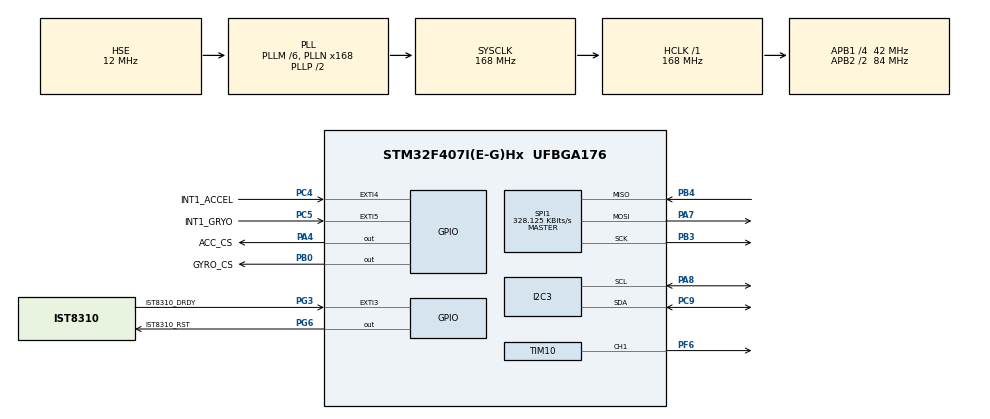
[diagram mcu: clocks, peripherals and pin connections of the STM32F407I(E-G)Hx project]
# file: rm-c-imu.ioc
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Dma.Request0=SPI1_RX
Dma.Request1=SPI1_TX
Dma.SPI1_RX.0.Direction=DMA_PERIPH_TO_MEMORY
Dma.SPI1_RX.0.FIFOMode=DMA_FIFOMODE_DISABLE
Dma.SPI1_RX.0.Instance=DMA2_Stream2
Dma.SPI1_RX.0.MemDataAlignment=DMA_MDATAALIGN_BYTE
Dma.SPI1_RX.0.MemInc=DMA_MINC_ENABLE
Dma.SPI1_RX.0.Mode=DMA_NORMAL
Dma.SPI1_RX.0.PeriphDataAlignment=DMA_PDATAALIGN_BYTE
Dma.SPI1_RX.0.PeriphInc=DMA_PINC_DISABLE
Dma.SPI1_RX.0.Priority=DMA_PRIORITY_VERY_HIGH
Dma.SPI1_TX.1.Direction=DMA_MEMORY_TO_PERIPH
Dma.SPI1_TX.1.FIFOMode=DMA_FIFOMODE_DISABLE
Dma.SPI1_TX.1.Instance=DMA2_Stream3
Dma.SPI1_TX.1.MemDataAlignment=DMA_MDATAALIGN_BYTE
Dma.SPI1_TX.1.MemInc=DMA_MINC_ENABLE
Dma.SPI1_TX.1.Mode=DMA_NORMAL
Dma.SPI1_TX.1.PeriphDataAlignment=DMA_PDATAALIGN_BYTE
Dma.SPI1_TX.1.PeriphInc=DMA_PINC_DISABLE
Dma.SPI1_TX.1.Priority=DMA_PRIORITY_HIGH
I2C3.I2C_Mode=I2C_Fast
Mcu.Family=STM32F4
Mcu.Name=STM32F407I(E-G)Hx
Mcu.Package=UFBGA176
NVIC.DMA2_Stream2_IRQn=true\:5\:0\:true\:false\:false\:false\:true\:true
NVIC.DMA2_Stream3_IRQn=true\:0\:0\:false\:false\:false\:false\:true\:true
NVIC.EXTI4_IRQn=true\:0\:0\:false\:false\:true\:true\:true\:true
NVIC.EXTI9_5_IRQn=true\:0\:0\:false\:false\:true\:true\:true\:true
NVIC.PriorityGroup=NVIC_PRIORITYGROUP_4
PA13.Mode=Serial_Wire
PA13.Signal=SYS_JTMS-SWDIO
PA14.Mode=Serial_Wire
PA14.Signal=SYS_JTCK-SWCLK
PA4.GPIO_Label=ACC_CS
PA4.GPIO_PuPd=GPIO_PULLUP
PA4.GPIO_Speed=GPIO_SPEED_FREQ_HIGH
PA4.PinState=GPIO_PIN_SET
PA4.Signal=GPIO_Output
PA7.Mode=Full_Duplex_Master
PA7.Signal=SPI1_MOSI
PA8.Mode=I2C
PA8.Signal=I2C3_SCL
PB0.GPIO_Label=GYRO_CS
PB0.GPIO_PuPd=GPIO_PULLUP
PB0.GPIO_Speed=GPIO_SPEED_FREQ_HIGH
PB0.PinState=GPIO_PIN_SET
PB0.Signal=GPIO_Output
PB3.Mode=Full_Duplex_Master
PB3.Signal=SPI1_SCK
PB4.Mode=Full_Duplex_Master
PB4.Signal=SPI1_MISO
PC4.GPIO_Label=INT1_ACCEL
PC4.GPIO_ModeDefaultEXTI=GPIO_MODE_IT_FALLING
PC4.GPIO_PuPd=GPIO_PULLUP
PC4.Signal=GPXTI4
PC5.GPIO_Label=INT1_GRYO
PC5.GPIO_ModeDefaultEXTI=GPIO_MODE_IT_FALLING
PC5.GPIO_PuPd=GPIO_PULLUP
PC5.Signal=GPXTI5
PC9.Mode=I2C
PC9.Signal=I2C3_SDA
PF6.GPIO_PuPd=GPIO_PULLUP
PF6.GPIO_Speed=GPIO_SPEED_FREQ_HIGH
PF6.Signal=S_TIM10_CH1
PG3.GPIO_Label=IST8310_DRDY
PG3.GPIO_ModeDefaultEXTI=GPIO_MODE_IT_FALLING
PG3.GPIO_PuPd=GPIO_PULLUP
PG3.Signal=GPXTI3
PG6.GPIO_Label=IST8310_RST
PG6.GPIO_PuPd=GPIO_PULLUP
PG6.GPIO_Speed=GPIO_SPEED_FREQ_MEDIUM
PG6.PinState=GPIO_PIN_SET
PG6.Signal=GPIO_Output
PH0-OSC_IN.Mode=HSE-External-Oscillator
PH0-OSC_IN.Signal=RCC_OSC_IN
PH1-OSC_OUT.Mode=HSE-External-Oscillator
PH1-OSC_OUT.Signal=RCC_OSC_OUT
ProjectManager.HeapSize=0x2000
ProjectManager.StackSize=0x2000
ProjectManager.TargetToolchain=Makefile
RCC.48MHZClocksFreq_Value=48000000
RCC.AHBFreq_Value=168000000
RCC.APB1CLKDivider=RCC_HCLK_DIV4
RCC.APB1Freq_Value=42000000
RCC.APB1TimFreq_Value=84000000
RCC.APB2CLKDivider=RCC_HCLK_DIV2
RCC.APB2Freq_Value=84000000
RCC.APB2TimFreq_Value=168000000
RCC.CortexFreq_Value=168000000
RCC.HCLKFreq_Value=168000000
RCC.HSE_VALUE=12000000
RCC.HSI_VALUE=16000000
RCC.LSE_VALUE=32768
RCC.PLLM=6
RCC.PLLN=168
RCC.PLLQ=7
RCC.PLLSourceVirtual=RCC_PLLSOURCE_HSE
RCC.RCC_RTC_Clock_SourceVirtual=RCC_RTCCLKSOURCE_HSE_DIV30
RCC.RCC_RTC_Clock_Source_FROM_HSE=RCC_RTCCLKSOURCE_HSE_DIV30
RCC.SYSCLKFreq_VALUE=168000000
RCC.SYSCLKSource=RCC_SYSCLKSOURCE_PLLCLK
RCC.VCOOutputFreq_Value=336000000
SH.S_TIM10_CH1.0=TIM10_CH1,PWM Generation1 CH1
SPI1.BaudRatePrescaler=SPI_BAUDRATEPRESCALER_256
SPI1.CLKPhase=SPI_PHASE_2EDGE
SPI1.CLKPolarity=SPI_POLARITY_HIGH
SPI1.CalculateBaudRate=328.125 KBits/s
SPI1.Direction=SPI_DIRECTION_2LINES
SPI1.Mode=SPI_MODE_MASTER
SPI1.VirtualType=VM_MASTER
TIM10.Channel=TIM_CHANNEL_1
TIM10.Period=4999
VP_TIM10_VS_ClockSourceINT.Mode=Enable_Timer
board=custom

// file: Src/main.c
/* USER CODE BEGIN Header */
/**
  ******************************************************************************
  * @file           : main.c
  * @brief          : Main program body
  ******************************************************************************
  * @attention
  *
  * <h2><center>&copy; Copyright (c) 2025 STMicroelectronics.
  * All rights reserved.</center></h2>
  *
  * This software component is licensed by ST under BSD 3-Clause license,
  * the "License"; You may not use this file except in compliance with the
  * License. You may obtain a copy of the License at:
  *                        opensource.org/licenses/BSD-3-Clause
  *
  ******************************************************************************
  */
/* USER CODE END Header */

#include "main.h"
#include "dma.h"
#include "i2c.h"
#include "spi.h"
#include "tim.h"
#include "gpio.h"

/* USER CODE BEGIN Includes */
#include "BMI088driver.h"
#include "bsp_delay.h"
#include "ist8310driver.h"
#include "SEGGER_RTT.h"
#include <stdio.h>
/* USER CODE END Includes */

/* USER CODE BEGIN PV */
// BMI088传感器数据变量
float gyro[3] = {0};      // 陀螺仪数据 [x, y, z] (rad/s)
float accel[3] = {0};     // 加速度计数据 [x, y, z] (m/s²)
float temperature = 0;    // 温度数据 (°C)

// IST8310磁力计数据变量
float mag[3] = {0};       // 磁力计数据 [x, y, z] (uT)

uint32_t last_print_time = 0;  // 上次打印时间
/* USER CODE END PV */

void SystemClock_Config(void);

int main(void)
{

  /* MCU Configuration--------------------------------------------------------*/

  /* Reset of all peripherals, Initializes the Flash interface and the Systick. */
  HAL_Init();

  /* Configure the system clock */
  SystemClock_Config();

  /* Initialize all configured peripherals */
  MX_GPIO_Init();
  MX_DMA_Init();
  MX_SPI1_Init();
  MX_TIM10_Init();
  MX_I2C3_Init();
  /* USER CODE BEGIN 2 */
  // 初始化DWT延时系统
  DWT_Delay_Init();

  // 初始化SEGGER RTT
  SEGGER_RTT_Init();
  SEGGER_RTT_printf(0, "\n=== BMI088 + IST8310传感器数据读取系统启动 ===\n");

  // 初始化BMI088传感器
  SEGGER_RTT_printf(0, "正在初始化BMI088传感器...\n");
  uint8_t bmi088_init_result = BMI088_init();
  if (bmi088_init_result == BMI088_NO_ERROR) {
    SEGGER_RTT_printf(0, "BMI088初始化成功!\n");
    SEGGER_RTT_printf(0, "- 加速度计量程: ±3g\n");
    SEGGER_RTT_printf(0, "- 陀螺仪量程: ±2000°/s\n");
  } else {
    SEGGER_RTT_printf(0, "BMI088初始化失败! 错误代码: 0x%02X\n", bmi088_init_result);
  }

  // 初始化IST8310磁力计
  SEGGER_RTT_printf(0, "正在初始化IST8310磁力计...\n");
  uint8_t ist8310_init_result = ist8310_init();
  if (ist8310_init_result == IST8310_NO_ERROR) {
    SEGGER_RTT_printf(0, "IST8310初始化成功!\n");
    SEGGER_RTT_printf(0, "- 磁力计量程: ±1600uT\n");
    SEGGER_RTT_printf(0, "- 输出频率: 200Hz\n");
  } else {
    SEGGER_RTT_printf(0, "IST8310初始化失败! 错误代码: 0x%02X\n", ist8310_init_result);
  }

  // 等待传感器稳定
  HAL_Delay(100);

  last_print_time = HAL_GetTick();

  SEGGER_RTT_printf(0, "\n=== 开始传感器数据读取 ===\n");
  SEGGER_RTT_printf(0, "数据格式: 加速度(m/s²) | 陀螺仪(°/s) | 磁力计(uT) | 温度(°C)\n\n");
  /* USER CODE END 2 */

  /* Infinite loop */
  /* USER CODE BEGIN WHILE */
  SEGGER_RTT_printf(0, "Start");
  while (1)
  {
    /* USER CODE END WHILE */

    /* USER CODE BEGIN 3 */
    // 读取BMI088传感器数据
    BMI088_read(gyro, accel, &temperature);

    // 读取IST8310磁力计数据
    ist8310_read_mag(mag);

    // 通过SEGGER RTT输出9轴传感器数据
    // SEGGER_RTT_printf(0, "IMU Data - Accel: X:%.3f Y:%.3f Z:%.3f, Gyro: X:%.3f Y:%.3f Z:%.3f, Mag: X:%.3f Y:%.3f Z:%.3f, Temp:%.1f\r\n",
    //                   accel[0], accel[1], accel[2],
    //                   gyro[0], gyro[1], gyro[2],
    //                   mag[0], mag[1], mag[2], temperature);

    // 小延时，避免CPU占用过高
    HAL_Delay(10);
  }
  /* USER CODE END 3 */
}

void SystemClock_Config(void)
{
  RCC_OscInitTypeDef RCC_OscInitStruct = {0};
  RCC_ClkInitTypeDef RCC_ClkInitStruct = {0};

  /** Configure the main internal regulator output voltage
  */
  __HAL_RCC_PWR_CLK_ENABLE();
  __HAL_PWR_VOLTAGESCALING_CONFIG(PWR_REGULATOR_VOLTAGE_SCALE1);
  /** Initializes the CPU, AHB and APB busses clocks
  */
  RCC_OscInitStruct.OscillatorType = RCC_OSCILLATORTYPE_HSE;
  RCC_OscInitStruct.HSEState = RCC_HSE_ON;
  RCC_OscInitStruct.PLL.PLLState = RCC_PLL_ON;
  RCC_OscInitStruct.PLL.PLLSource = RCC_PLLSOURCE_HSE;
  RCC_OscInitStruct.PLL.PLLM = 6;
  RCC_OscInitStruct.PLL.PLLN = 168;
  RCC_OscInitStruct.PLL.PLLP = RCC_PLLP_DIV2;
  RCC_OscInitStruct.PLL.PLLQ = 7;
  if (HAL_RCC_OscConfig(&RCC_OscInitStruct) != HAL_OK)
  {
    Error_Handler();
  }
  /** Initializes the CPU, AHB and APB busses clocks
  */
  RCC_ClkInitStruct.ClockType = RCC_CLOCKTYPE_HCLK|RCC_CLOCKTYPE_SYSCLK
                              |RCC_CLOCKTYPE_PCLK1|RCC_CLOCKTYPE_PCLK2;
  RCC_ClkInitStruct.SYSCLKSource = RCC_SYSCLKSOURCE_PLLCLK;
  RCC_ClkInitStruct.AHBCLKDivider = RCC_SYSCLK_DIV1;
  RCC_ClkInitStruct.APB1CLKDivider = RCC_HCLK_DIV4;
  RCC_ClkInitStruct.APB2CLKDivider = RCC_HCLK_DIV2;

  if (HAL_RCC_ClockConfig(&RCC_ClkInitStruct, FLASH_LATENCY_5) != HAL_OK)
  {
    Error_Handler();
  }
}

void Error_Handler(void)
{
}

/************************ (C) COPYRIGHT STMicroelectronics *****END OF FILE****/
